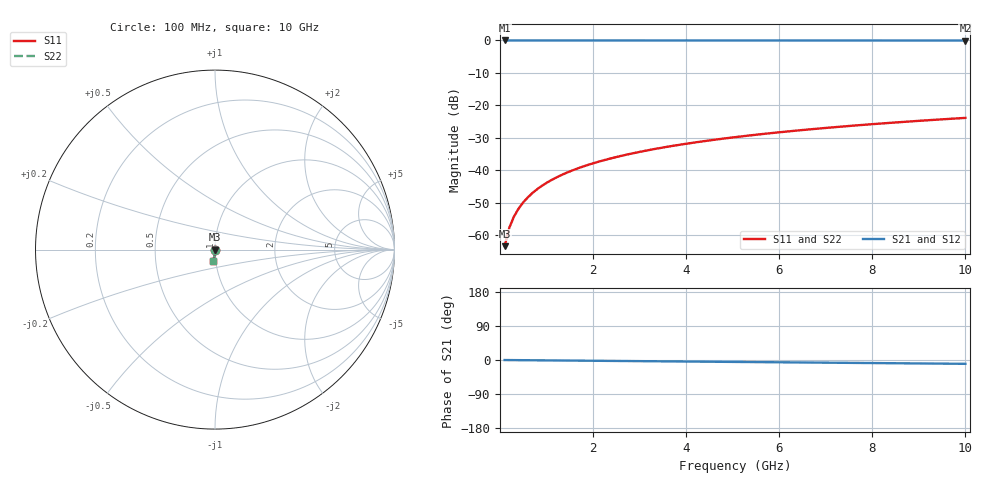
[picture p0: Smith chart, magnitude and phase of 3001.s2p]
# Hz S RI R 50.00
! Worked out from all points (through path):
!   100 points, 100 MHz to 10 GHz, reference 50 ohm
!   highest |S21| = 0.00 dB at 100 MHz (marker M1); lowest = 0.0 dB at 10 GHz (marker M2)
!   group delay of S21, straight-line fit = 2.8 ps
!   lowest |S11| = -63.4 dB at 100 MHz (marker M3), VSWR 1.00, Z = 50 - j0.0639 ohm
!   |S11| at or under -10 dB: start of sweep to end of sweep
!   |S22| runs from -63.4 to -23.9 dB; largest |S21 - S12| = 0
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1e8  0.000224 -0.000639  0.9998 -0.00175  0.9998 -0.00175  0.000224 -0.000639
2e8  0.000221 -0.00128  0.9998 -0.00349  0.9998 -0.00349  0.000221 -0.00128
3e8  0.000215 -0.00192  0.9998 -0.00524  0.9998 -0.00524  0.000215 -0.00192
4e8  0.000207 -0.00255  0.9997 -0.00698  0.9997 -0.00698  0.000207 -0.00255
5e8  0.000197 -0.00319  0.9997 -0.00873  0.9997 -0.00873  0.000197 -0.00319
6e8  0.000184 -0.00383  0.9997 -0.0105  0.9997 -0.0105  0.000184 -0.00383
7e8  0.000169 -0.00447  0.9997 -0.0122  0.9997 -0.0122  0.000169 -0.00447
8e8  0.000152 -0.00511  0.9996 -0.014  0.9996 -0.014  0.000152 -0.00511
9e8  0.000132 -0.00575  0.9996 -0.0157  0.9996 -0.0157  0.000132 -0.00575
1.1e9  8.64e-05 -0.00703  0.9995 -0.0192  0.9995 -0.0192  8.64e-05 -0.00703
1.4e9  6.36e-07 -0.00894  0.9994 -0.0245  0.9994 -0.0245  6.36e-07 -0.00894
1.8e9  -0.000145 -0.0115  0.9992 -0.0314  0.9992 -0.0314  -0.000145 -0.0115
2.1e9  -0.000278 -0.0134  0.999 -0.0367  0.999 -0.0367  -0.000278 -0.0134
2.5e9  -0.000487 -0.016  0.9986 -0.0437  0.9986 -0.0437  -0.000487 -0.016
2.9e9  -0.000732 -0.0185  0.9983 -0.0507  0.9983 -0.0507  -0.000732 -0.0185
3.4e9  -0.00109 -0.0217  0.9977 -0.0594  0.9977 -0.0594  -0.00109 -0.0217
4.2e9  -0.00178 -0.0268  0.9966 -0.0734  0.9966 -0.0734  -0.00178 -0.0268
5.1e9  -0.00273 -0.0326  0.9952 -0.0892  0.9952 -0.0892  -0.00273 -0.0326
5.9e9  -0.00372 -0.0376  0.9936 -0.1032  0.9936 -0.1032  -0.00372 -0.0376
6.7e9  -0.00486 -0.0427  0.9919 -0.1172  0.9919 -0.1172  -0.00486 -0.0427
8.4e9  -0.00776 -0.0533  0.9873 -0.1468  0.9873 -0.1468  -0.00776 -0.0533
1e10  -0.0111 -0.0631  0.9822 -0.1747  0.9822 -0.1747  -0.0111 -0.0631
